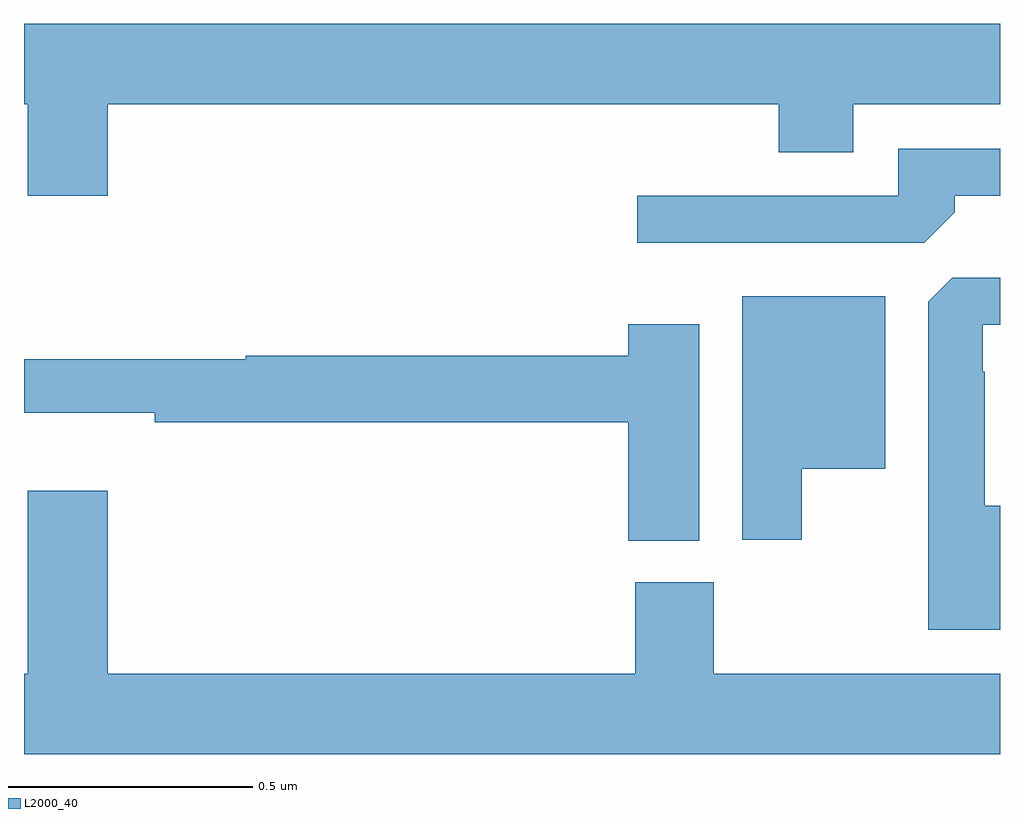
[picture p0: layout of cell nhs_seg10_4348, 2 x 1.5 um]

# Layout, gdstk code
import gdstk
lib = gdstk.Library(unit=1e-6, precision=1e-09)
def P(c, l, *ps):  # polygons
    for p in ps: c.add(gdstk.Polygon(p, *l))
L2000_40 = (2000, 40)

nhs_seg10_4348 = lib.new_cell('nhs_seg10_4348')
P(nhs_seg10_4348, L2000_40, [(165.172,1267.016),(166.547,1267.016),(166.547,1266.917),(166.699,1266.917),(166.699,1267.016),(167,1267.016),(167,1267.18),(165,1267.18),(165,1267.016),(165.008,1267.016),(165.008,1266.828),(165.172,1266.828)],
  [(166.907,1266.794),(166.907,1266.828),(167,1266.828),(167,1266.924),(166.791,1266.924),(166.791,1266.828),(166.257,1266.828),(166.257,1266.732),(166.845,1266.732)],
  [(167,1266.193),(166.969,1266.193),(166.969,1266.467),(166.965,1266.467),(166.965,1266.564),(167,1266.564),(167,1266.66),(166.902,1266.66),(166.853,1266.611),(166.853,1265.939),(167,1265.939)],
  [(166.594,1266.269),(166.765,1266.269),(166.765,1266.622),(166.472,1266.622),(166.472,1266.123),(166.594,1266.123)],
  [(166.384,1266.565),(166.238,1266.565),(166.238,1266.5),(165.454,1266.5),(165.454,1266.493),(165,1266.493),(165,1266.383),(165.268,1266.383),(165.268,1266.364),(166.238,1266.364),(166.238,1266.121),(166.384,1266.121)],
  [(167,1265.848),(166.413,1265.848),(166.413,1266.036),(166.253,1266.036),(166.253,1265.848),(165.172,1265.848),(165.172,1266.223),(165.008,1266.223),(165.008,1265.848),(165,1265.848),(165,1265.684),(167,1265.684)])

lib.write_gds('nhs_seg10_4348.gds')
